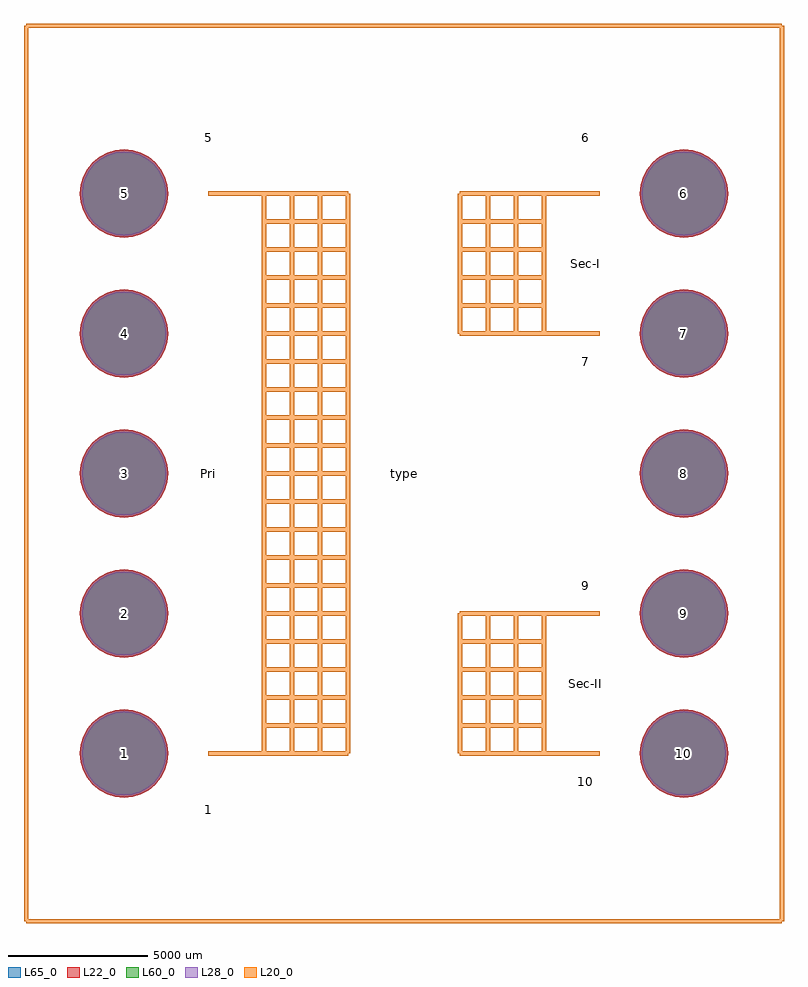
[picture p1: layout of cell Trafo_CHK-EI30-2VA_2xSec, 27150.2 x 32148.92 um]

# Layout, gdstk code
import gdstk
lib = gdstk.Library(unit=1e-6, precision=1e-09)
def P(c, l, *ps):  # polygons
    for p in ps: c.add(gdstk.Polygon(p, *l))
L20_0 = (20, 0)
L22_0 = (22, 0)
L28_0 = (28, 0)
L60_0 = (60, 0)
L65_0 = (65, 0)

trafo_chk_ei30_2va_2xsec = lib.new_cell('Trafo_CHK-EI30-2VA_2xSec')
P(trafo_chk_ei30_2va_2xsec, L22_0, [(11574.85,-9999.98),(11544.589,-9692.738),(11454.97,-9397.303),(11309.437,-9125.029),(11113.581,-8886.379),(10874.931,-8690.523),(10602.657,-8544.99),(10307.222,-8455.371),(9999.98,-8425.11),(9692.738,-8455.371),(9397.303,-8544.99),(9125.029,-8690.523),(8886.379,-8886.379),(8690.523,-9125.029),(8544.99,-9397.303),(8455.371,-9692.738),(8425.11,-9999.98),(8455.371,-10307.222),(8544.99,-10602.657),(8690.523,-10874.931),(8886.379,-11113.581),(9125.029,-11309.437),(9397.303,-11454.97),(9692.738,-11544.589),(9999.98,-11574.85),(10307.222,-11544.589),(10602.657,-11454.97),(10874.931,-11309.437),(11113.581,-11113.581),(11309.437,-10874.931),(11454.97,-10602.657),(11544.589,-10307.222)],
  [(11574.85,-5001.26),(11544.589,-4694.018),(11454.97,-4398.583),(11309.437,-4126.309),(11113.581,-3887.659),(10874.931,-3691.803),(10602.657,-3546.27),(10307.222,-3456.651),(9999.98,-3426.39),(9692.738,-3456.651),(9397.303,-3546.27),(9125.029,-3691.803),(8886.379,-3887.659),(8690.523,-4126.309),(8544.99,-4398.583),(8455.371,-4694.018),(8425.11,-5001.26),(8455.371,-5308.502),(8544.99,-5603.937),(8690.523,-5876.211),(8886.379,-6114.861),(9125.029,-6310.717),(9397.303,-6456.25),(9692.738,-6545.869),(9999.98,-6576.13),(10307.222,-6545.869),(10602.657,-6456.25),(10874.931,-6310.717),(11113.581,-6114.861),(11309.437,-5876.211),(11454.97,-5603.937),(11544.589,-5308.502)],
  [(11574.85,0),(11544.589,307.242),(11454.97,602.677),(11309.437,874.951),(11113.581,1113.601),(10874.931,1309.457),(10602.657,1454.99),(10307.222,1544.609),(9999.98,1574.87),(9692.738,1544.609),(9397.303,1454.99),(9125.029,1309.457),(8886.379,1113.601),(8690.523,874.951),(8544.99,602.677),(8455.371,307.242),(8425.11,0),(8455.371,-307.242),(8544.99,-602.677),(8690.523,-874.951),(8886.379,-1113.601),(9125.029,-1309.457),(9397.303,-1454.99),(9692.738,-1544.609),(9999.98,-1574.87),(10307.222,-1544.609),(10602.657,-1454.99),(10874.931,-1309.457),(11113.581,-1113.601),(11309.437,-874.951),(11454.97,-602.677),(11544.589,-307.242)],
  [(11574.85,5001.26),(11544.589,5308.502),(11454.97,5603.937),(11309.437,5876.211),(11113.581,6114.861),(10874.931,6310.717),(10602.657,6456.25),(10307.222,6545.869),(9999.98,6576.13),(9692.738,6545.869),(9397.303,6456.25),(9125.029,6310.717),(8886.379,6114.861),(8690.523,5876.211),(8544.99,5603.937),(8455.371,5308.502),(8425.11,5001.26),(8455.371,4694.018),(8544.99,4398.583),(8690.523,4126.309),(8886.379,3887.659),(9125.029,3691.803),(9397.303,3546.27),(9692.738,3456.651),(9999.98,3426.39),(10307.222,3456.651),(10602.657,3546.27),(10874.931,3691.803),(11113.581,3887.659),(11309.437,4126.309),(11454.97,4398.583),(11544.589,4694.018)],
  [(11574.85,9999.98),(11544.589,10307.222),(11454.97,10602.657),(11309.437,10874.931),(11113.581,11113.581),(10874.931,11309.437),(10602.657,11454.97),(10307.222,11544.589),(9999.98,11574.85),(9692.738,11544.589),(9397.303,11454.97),(9125.029,11309.437),(8886.379,11113.581),(8690.523,10874.931),(8544.99,10602.657),(8455.371,10307.222),(8425.11,9999.98),(8455.371,9692.738),(8544.99,9397.303),(8690.523,9125.029),(8886.379,8886.379),(9125.029,8690.523),(9397.303,8544.99),(9692.738,8455.371),(9999.98,8425.11),(10307.222,8455.371),(10602.657,8544.99),(10874.931,8690.523),(11113.581,8886.379),(11309.437,9125.029),(11454.97,9397.303),(11544.589,9692.738)],
  [(-8425.11,9999.98),(-8455.371,10307.222),(-8544.99,10602.657),(-8690.523,10874.931),(-8886.379,11113.581),(-9125.029,11309.437),(-9397.303,11454.97),(-9692.738,11544.589),(-9999.98,11574.85),(-10307.222,11544.589),(-10602.657,11454.97),(-10874.931,11309.437),(-11113.581,11113.581),(-11309.437,10874.931),(-11454.97,10602.657),(-11544.589,10307.222),(-11574.85,9999.98),(-11544.589,9692.738),(-11454.97,9397.303),(-11309.437,9125.029),(-11113.581,8886.379),(-10874.931,8690.523),(-10602.657,8544.99),(-10307.222,8455.371),(-9999.98,8425.11),(-9692.738,8455.371),(-9397.303,8544.99),(-9125.029,8690.523),(-8886.379,8886.379),(-8690.523,9125.029),(-8544.99,9397.303),(-8455.371,9692.738)],
  [(-8425.11,5001.26),(-8455.371,5308.502),(-8544.99,5603.937),(-8690.523,5876.211),(-8886.379,6114.861),(-9125.029,6310.717),(-9397.303,6456.25),(-9692.738,6545.869),(-9999.98,6576.13),(-10307.222,6545.869),(-10602.657,6456.25),(-10874.931,6310.717),(-11113.581,6114.861),(-11309.437,5876.211),(-11454.97,5603.937),(-11544.589,5308.502),(-11574.85,5001.26),(-11544.589,4694.018),(-11454.97,4398.583),(-11309.437,4126.309),(-11113.581,3887.659),(-10874.931,3691.803),(-10602.657,3546.27),(-10307.222,3456.651),(-9999.98,3426.39),(-9692.738,3456.651),(-9397.303,3546.27),(-9125.029,3691.803),(-8886.379,3887.659),(-8690.523,4126.309),(-8544.99,4398.583),(-8455.371,4694.018)],
  [(-8425.11,0),(-8455.371,307.242),(-8544.99,602.677),(-8690.523,874.951),(-8886.379,1113.601),(-9125.029,1309.457),(-9397.303,1454.99),(-9692.738,1544.609),(-9999.98,1574.87),(-10307.222,1544.609),(-10602.657,1454.99),(-10874.931,1309.457),(-11113.581,1113.601),(-11309.437,874.951),(-11454.97,602.677),(-11544.589,307.242),(-11574.85,0),(-11544.589,-307.242),(-11454.97,-602.677),(-11309.437,-874.951),(-11113.581,-1113.601),(-10874.931,-1309.457),(-10602.657,-1454.99),(-10307.222,-1544.609),(-9999.98,-1574.87),(-9692.738,-1544.609),(-9397.303,-1454.99),(-9125.029,-1309.457),(-8886.379,-1113.601),(-8690.523,-874.951),(-8544.99,-602.677),(-8455.371,-307.242)],
  [(-8425.11,-5001.26),(-8455.371,-4694.018),(-8544.99,-4398.583),(-8690.523,-4126.309),(-8886.379,-3887.659),(-9125.029,-3691.803),(-9397.303,-3546.27),(-9692.738,-3456.651),(-9999.98,-3426.39),(-10307.222,-3456.651),(-10602.657,-3546.27),(-10874.931,-3691.803),(-11113.581,-3887.659),(-11309.437,-4126.309),(-11454.97,-4398.583),(-11544.589,-4694.018),(-11574.85,-5001.26),(-11544.589,-5308.502),(-11454.97,-5603.937),(-11309.437,-5876.211),(-11113.581,-6114.861),(-10874.931,-6310.717),(-10602.657,-6456.25),(-10307.222,-6545.869),(-9999.98,-6576.13),(-9692.738,-6545.869),(-9397.303,-6456.25),(-9125.029,-6310.717),(-8886.379,-6114.861),(-8690.523,-5876.211),(-8544.99,-5603.937),(-8455.371,-5308.502)],
  [(-8425.11,-9999.98),(-8455.371,-9692.738),(-8544.99,-9397.303),(-8690.523,-9125.029),(-8886.379,-8886.379),(-9125.029,-8690.523),(-9397.303,-8544.99),(-9692.738,-8455.371),(-9999.98,-8425.11),(-10307.222,-8455.371),(-10602.657,-8544.99),(-10874.931,-8690.523),(-11113.581,-8886.379),(-11309.437,-9125.029),(-11454.97,-9397.303),(-11544.589,-9692.738),(-11574.85,-9999.98),(-11544.589,-10307.222),(-11454.97,-10602.657),(-11309.437,-10874.931),(-11113.581,-11113.581),(-10874.931,-11309.437),(-10602.657,-11454.97),(-10307.222,-11544.589),(-9999.98,-11574.85),(-9692.738,-11544.589),(-9397.303,-11454.97),(-9125.029,-11309.437),(-8886.379,-11113.581),(-8690.523,-10874.931),(-8544.99,-10602.657),(-8455.371,-10307.222)])
P(trafo_chk_ei30_2va_2xsec, L28_0, [(11499.85,-9999.98),(11471.03,-9707.37),(11385.679,-9426.005),(11247.076,-9166.697),(11060.548,-8939.412),(10833.263,-8752.884),(10573.955,-8614.281),(10292.59,-8528.93),(9999.98,-8500.11),(9707.37,-8528.93),(9426.005,-8614.281),(9166.697,-8752.884),(8939.412,-8939.412),(8752.884,-9166.697),(8614.281,-9426.005),(8528.93,-9707.37),(8500.11,-9999.98),(8528.93,-10292.59),(8614.281,-10573.955),(8752.884,-10833.263),(8939.412,-11060.548),(9166.697,-11247.076),(9426.005,-11385.679),(9707.37,-11471.03),(9999.98,-11499.85),(10292.59,-11471.03),(10573.955,-11385.679),(10833.263,-11247.076),(11060.548,-11060.548),(11247.076,-10833.263),(11385.679,-10573.955),(11471.03,-10292.59)],
  [(11499.85,-5001.26),(11471.03,-4708.65),(11385.679,-4427.285),(11247.076,-4167.977),(11060.548,-3940.692),(10833.263,-3754.164),(10573.955,-3615.561),(10292.59,-3530.21),(9999.98,-3501.39),(9707.37,-3530.21),(9426.005,-3615.561),(9166.697,-3754.164),(8939.412,-3940.692),(8752.884,-4167.977),(8614.281,-4427.285),(8528.93,-4708.65),(8500.11,-5001.26),(8528.93,-5293.87),(8614.281,-5575.235),(8752.884,-5834.543),(8939.412,-6061.828),(9166.697,-6248.356),(9426.005,-6386.959),(9707.37,-6472.31),(9999.98,-6501.13),(10292.59,-6472.31),(10573.955,-6386.959),(10833.263,-6248.356),(11060.548,-6061.828),(11247.076,-5834.543),(11385.679,-5575.235),(11471.03,-5293.87)],
  [(11499.85,0),(11471.03,292.61),(11385.679,573.975),(11247.076,833.283),(11060.548,1060.568),(10833.263,1247.096),(10573.955,1385.699),(10292.59,1471.05),(9999.98,1499.87),(9707.37,1471.05),(9426.005,1385.699),(9166.697,1247.096),(8939.412,1060.568),(8752.884,833.283),(8614.281,573.975),(8528.93,292.61),(8500.11,0),(8528.93,-292.61),(8614.281,-573.975),(8752.884,-833.283),(8939.412,-1060.568),(9166.697,-1247.096),(9426.005,-1385.699),(9707.37,-1471.05),(9999.98,-1499.87),(10292.59,-1471.05),(10573.955,-1385.699),(10833.263,-1247.096),(11060.548,-1060.568),(11247.076,-833.283),(11385.679,-573.975),(11471.03,-292.61)],
  [(11499.85,5001.26),(11471.03,5293.87),(11385.679,5575.235),(11247.076,5834.543),(11060.548,6061.828),(10833.263,6248.356),(10573.955,6386.959),(10292.59,6472.31),(9999.98,6501.13),(9707.37,6472.31),(9426.005,6386.959),(9166.697,6248.356),(8939.412,6061.828),(8752.884,5834.543),(8614.281,5575.235),(8528.93,5293.87),(8500.11,5001.26),(8528.93,4708.65),(8614.281,4427.285),(8752.884,4167.977),(8939.412,3940.692),(9166.697,3754.164),(9426.005,3615.561),(9707.37,3530.21),(9999.98,3501.39),(10292.59,3530.21),(10573.955,3615.561),(10833.263,3754.164),(11060.548,3940.692),(11247.076,4167.977),(11385.679,4427.285),(11471.03,4708.65)],
  [(11499.85,9999.98),(11471.03,10292.59),(11385.679,10573.955),(11247.076,10833.263),(11060.548,11060.548),(10833.263,11247.076),(10573.955,11385.679),(10292.59,11471.03),(9999.98,11499.85),(9707.37,11471.03),(9426.005,11385.679),(9166.697,11247.076),(8939.412,11060.548),(8752.884,10833.263),(8614.281,10573.955),(8528.93,10292.59),(8500.11,9999.98),(8528.93,9707.37),(8614.281,9426.005),(8752.884,9166.697),(8939.412,8939.412),(9166.697,8752.884),(9426.005,8614.281),(9707.37,8528.93),(9999.98,8500.11),(10292.59,8528.93),(10573.955,8614.281),(10833.263,8752.884),(11060.548,8939.412),(11247.076,9166.697),(11385.679,9426.005),(11471.03,9707.37)],
  [(-8500.11,9999.98),(-8528.93,10292.59),(-8614.281,10573.955),(-8752.884,10833.263),(-8939.412,11060.548),(-9166.697,11247.076),(-9426.005,11385.679),(-9707.37,11471.03),(-9999.98,11499.85),(-10292.59,11471.03),(-10573.955,11385.679),(-10833.263,11247.076),(-11060.548,11060.548),(-11247.076,10833.263),(-11385.679,10573.955),(-11471.03,10292.59),(-11499.85,9999.98),(-11471.03,9707.37),(-11385.679,9426.005),(-11247.076,9166.697),(-11060.548,8939.412),(-10833.263,8752.884),(-10573.955,8614.281),(-10292.59,8528.93),(-9999.98,8500.11),(-9707.37,8528.93),(-9426.005,8614.281),(-9166.697,8752.884),(-8939.412,8939.412),(-8752.884,9166.697),(-8614.281,9426.005),(-8528.93,9707.37)],
  [(-8500.11,5001.26),(-8528.93,5293.87),(-8614.281,5575.235),(-8752.884,5834.543),(-8939.412,6061.828),(-9166.697,6248.356),(-9426.005,6386.959),(-9707.37,6472.31),(-9999.98,6501.13),(-10292.59,6472.31),(-10573.955,6386.959),(-10833.263,6248.356),(-11060.548,6061.828),(-11247.076,5834.543),(-11385.679,5575.235),(-11471.03,5293.87),(-11499.85,5001.26),(-11471.03,4708.65),(-11385.679,4427.285),(-11247.076,4167.977),(-11060.548,3940.692),(-10833.263,3754.164),(-10573.955,3615.561),(-10292.59,3530.21),(-9999.98,3501.39),(-9707.37,3530.21),(-9426.005,3615.561),(-9166.697,3754.164),(-8939.412,3940.692),(-8752.884,4167.977),(-8614.281,4427.285),(-8528.93,4708.65)],
  [(-8500.11,0),(-8528.93,292.61),(-8614.281,573.975),(-8752.884,833.283),(-8939.412,1060.568),(-9166.697,1247.096),(-9426.005,1385.699),(-9707.37,1471.05),(-9999.98,1499.87),(-10292.59,1471.05),(-10573.955,1385.699),(-10833.263,1247.096),(-11060.548,1060.568),(-11247.076,833.283),(-11385.679,573.975),(-11471.03,292.61),(-11499.85,0),(-11471.03,-292.61),(-11385.679,-573.975),(-11247.076,-833.283),(-11060.548,-1060.568),(-10833.263,-1247.096),(-10573.955,-1385.699),(-10292.59,-1471.05),(-9999.98,-1499.87),(-9707.37,-1471.05),(-9426.005,-1385.699),(-9166.697,-1247.096),(-8939.412,-1060.568),(-8752.884,-833.283),(-8614.281,-573.975),(-8528.93,-292.61)],
  [(-8500.11,-5001.26),(-8528.93,-4708.65),(-8614.281,-4427.285),(-8752.884,-4167.977),(-8939.412,-3940.692),(-9166.697,-3754.164),(-9426.005,-3615.561),(-9707.37,-3530.21),(-9999.98,-3501.39),(-10292.59,-3530.21),(-10573.955,-3615.561),(-10833.263,-3754.164),(-11060.548,-3940.692),(-11247.076,-4167.977),(-11385.679,-4427.285),(-11471.03,-4708.65),(-11499.85,-5001.26),(-11471.03,-5293.87),(-11385.679,-5575.235),(-11247.076,-5834.543),(-11060.548,-6061.828),(-10833.263,-6248.356),(-10573.955,-6386.959),(-10292.59,-6472.31),(-9999.98,-6501.13),(-9707.37,-6472.31),(-9426.005,-6386.959),(-9166.697,-6248.356),(-8939.412,-6061.828),(-8752.884,-5834.543),(-8614.281,-5575.235),(-8528.93,-5293.87)],
  [(-8500.11,-9999.98),(-8528.93,-9707.37),(-8614.281,-9426.005),(-8752.884,-9166.697),(-8939.412,-8939.412),(-9166.697,-8752.884),(-9426.005,-8614.281),(-9707.37,-8528.93),(-9999.98,-8500.11),(-10292.59,-8528.93),(-10573.955,-8614.281),(-10833.263,-8752.884),(-11060.548,-8939.412),(-11247.076,-9166.697),(-11385.679,-9426.005),(-11471.03,-9707.37),(-11499.85,-9999.98),(-11471.03,-10292.59),(-11385.679,-10573.955),(-11247.076,-10833.263),(-11060.548,-11060.548),(-10833.263,-11247.076),(-10573.955,-11385.679),(-10292.59,-11471.03),(-9999.98,-11499.85),(-9707.37,-11471.03),(-9426.005,-11385.679),(-9166.697,-11247.076),(-8939.412,-11060.548),(-8752.884,-10833.263),(-8614.281,-10573.955),(-8528.93,-10292.59)])
P(trafo_chk_ei30_2va_2xsec, L60_0, [(11499.85,-9999.98),(11471.03,-9707.37),(11385.679,-9426.005),(11247.076,-9166.697),(11060.548,-8939.412),(10833.263,-8752.884),(10573.955,-8614.281),(10292.59,-8528.93),(9999.98,-8500.11),(9707.37,-8528.93),(9426.005,-8614.281),(9166.697,-8752.884),(8939.412,-8939.412),(8752.884,-9166.697),(8614.281,-9426.005),(8528.93,-9707.37),(8500.11,-9999.98),(8528.93,-10292.59),(8614.281,-10573.955),(8752.884,-10833.263),(8939.412,-11060.548),(9166.697,-11247.076),(9426.005,-11385.679),(9707.37,-11471.03),(9999.98,-11499.85),(10292.59,-11471.03),(10573.955,-11385.679),(10833.263,-11247.076),(11060.548,-11060.548),(11247.076,-10833.263),(11385.679,-10573.955),(11471.03,-10292.59)],
  [(11499.85,-5001.26),(11471.03,-4708.65),(11385.679,-4427.285),(11247.076,-4167.977),(11060.548,-3940.692),(10833.263,-3754.164),(10573.955,-3615.561),(10292.59,-3530.21),(9999.98,-3501.39),(9707.37,-3530.21),(9426.005,-3615.561),(9166.697,-3754.164),(8939.412,-3940.692),(8752.884,-4167.977),(8614.281,-4427.285),(8528.93,-4708.65),(8500.11,-5001.26),(8528.93,-5293.87),(8614.281,-5575.235),(8752.884,-5834.543),(8939.412,-6061.828),(9166.697,-6248.356),(9426.005,-6386.959),(9707.37,-6472.31),(9999.98,-6501.13),(10292.59,-6472.31),(10573.955,-6386.959),(10833.263,-6248.356),(11060.548,-6061.828),(11247.076,-5834.543),(11385.679,-5575.235),(11471.03,-5293.87)],
  [(11499.85,0),(11471.03,292.61),(11385.679,573.975),(11247.076,833.283),(11060.548,1060.568),(10833.263,1247.096),(10573.955,1385.699),(10292.59,1471.05),(9999.98,1499.87),(9707.37,1471.05),(9426.005,1385.699),(9166.697,1247.096),(8939.412,1060.568),(8752.884,833.283),(8614.281,573.975),(8528.93,292.61),(8500.11,0),(8528.93,-292.61),(8614.281,-573.975),(8752.884,-833.283),(8939.412,-1060.568),(9166.697,-1247.096),(9426.005,-1385.699),(9707.37,-1471.05),(9999.98,-1499.87),(10292.59,-1471.05),(10573.955,-1385.699),(10833.263,-1247.096),(11060.548,-1060.568),(11247.076,-833.283),(11385.679,-573.975),(11471.03,-292.61)],
  [(11499.85,5001.26),(11471.03,5293.87),(11385.679,5575.235),(11247.076,5834.543),(11060.548,6061.828),(10833.263,6248.356),(10573.955,6386.959),(10292.59,6472.31),(9999.98,6501.13),(9707.37,6472.31),(9426.005,6386.959),(9166.697,6248.356),(8939.412,6061.828),(8752.884,5834.543),(8614.281,5575.235),(8528.93,5293.87),(8500.11,5001.26),(8528.93,4708.65),(8614.281,4427.285),(8752.884,4167.977),(8939.412,3940.692),(9166.697,3754.164),(9426.005,3615.561),(9707.37,3530.21),(9999.98,3501.39),(10292.59,3530.21),(10573.955,3615.561),(10833.263,3754.164),(11060.548,3940.692),(11247.076,4167.977),(11385.679,4427.285),(11471.03,4708.65)],
  [(11499.85,9999.98),(11471.03,10292.59),(11385.679,10573.955),(11247.076,10833.263),(11060.548,11060.548),(10833.263,11247.076),(10573.955,11385.679),(10292.59,11471.03),(9999.98,11499.85),(9707.37,11471.03),(9426.005,11385.679),(9166.697,11247.076),(8939.412,11060.548),(8752.884,10833.263),(8614.281,10573.955),(8528.93,10292.59),(8500.11,9999.98),(8528.93,9707.37),(8614.281,9426.005),(8752.884,9166.697),(8939.412,8939.412),(9166.697,8752.884),(9426.005,8614.281),(9707.37,8528.93),(9999.98,8500.11),(10292.59,8528.93),(10573.955,8614.281),(10833.263,8752.884),(11060.548,8939.412),(11247.076,9166.697),(11385.679,9426.005),(11471.03,9707.37)],
  [(-8500.11,9999.98),(-8528.93,10292.59),(-8614.281,10573.955),(-8752.884,10833.263),(-8939.412,11060.548),(-9166.697,11247.076),(-9426.005,11385.679),(-9707.37,11471.03),(-9999.98,11499.85),(-10292.59,11471.03),(-10573.955,11385.679),(-10833.263,11247.076),(-11060.548,11060.548),(-11247.076,10833.263),(-11385.679,10573.955),(-11471.03,10292.59),(-11499.85,9999.98),(-11471.03,9707.37),(-11385.679,9426.005),(-11247.076,9166.697),(-11060.548,8939.412),(-10833.263,8752.884),(-10573.955,8614.281),(-10292.59,8528.93),(-9999.98,8500.11),(-9707.37,8528.93),(-9426.005,8614.281),(-9166.697,8752.884),(-8939.412,8939.412),(-8752.884,9166.697),(-8614.281,9426.005),(-8528.93,9707.37)],
  [(-8500.11,5001.26),(-8528.93,5293.87),(-8614.281,5575.235),(-8752.884,5834.543),(-8939.412,6061.828),(-9166.697,6248.356),(-9426.005,6386.959),(-9707.37,6472.31),(-9999.98,6501.13),(-10292.59,6472.31),(-10573.955,6386.959),(-10833.263,6248.356),(-11060.548,6061.828),(-11247.076,5834.543),(-11385.679,5575.235),(-11471.03,5293.87),(-11499.85,5001.26),(-11471.03,4708.65),(-11385.679,4427.285),(-11247.076,4167.977),(-11060.548,3940.692),(-10833.263,3754.164),(-10573.955,3615.561),(-10292.59,3530.21),(-9999.98,3501.39),(-9707.37,3530.21),(-9426.005,3615.561),(-9166.697,3754.164),(-8939.412,3940.692),(-8752.884,4167.977),(-8614.281,4427.285),(-8528.93,4708.65)],
  [(-8500.11,0),(-8528.93,292.61),(-8614.281,573.975),(-8752.884,833.283),(-8939.412,1060.568),(-9166.697,1247.096),(-9426.005,1385.699),(-9707.37,1471.05),(-9999.98,1499.87),(-10292.59,1471.05),(-10573.955,1385.699),(-10833.263,1247.096),(-11060.548,1060.568),(-11247.076,833.283),(-11385.679,573.975),(-11471.03,292.61),(-11499.85,0),(-11471.03,-292.61),(-11385.679,-573.975),(-11247.076,-833.283),(-11060.548,-1060.568),(-10833.263,-1247.096),(-10573.955,-1385.699),(-10292.59,-1471.05),(-9999.98,-1499.87),(-9707.37,-1471.05),(-9426.005,-1385.699),(-9166.697,-1247.096),(-8939.412,-1060.568),(-8752.884,-833.283),(-8614.281,-573.975),(-8528.93,-292.61)],
  [(-8500.11,-5001.26),(-8528.93,-4708.65),(-8614.281,-4427.285),(-8752.884,-4167.977),(-8939.412,-3940.692),(-9166.697,-3754.164),(-9426.005,-3615.561),(-9707.37,-3530.21),(-9999.98,-3501.39),(-10292.59,-3530.21),(-10573.955,-3615.561),(-10833.263,-3754.164),(-11060.548,-3940.692),(-11247.076,-4167.977),(-11385.679,-4427.285),(-11471.03,-4708.65),(-11499.85,-5001.26),(-11471.03,-5293.87),(-11385.679,-5575.235),(-11247.076,-5834.543),(-11060.548,-6061.828),(-10833.263,-6248.356),(-10573.955,-6386.959),(-10292.59,-6472.31),(-9999.98,-6501.13),(-9707.37,-6472.31),(-9426.005,-6386.959),(-9166.697,-6248.356),(-8939.412,-6061.828),(-8752.884,-5834.543),(-8614.281,-5575.235),(-8528.93,-5293.87)],
  [(-8500.11,-9999.98),(-8528.93,-9707.37),(-8614.281,-9426.005),(-8752.884,-9166.697),(-8939.412,-8939.412),(-9166.697,-8752.884),(-9426.005,-8614.281),(-9707.37,-8528.93),(-9999.98,-8500.11),(-10292.59,-8528.93),(-10573.955,-8614.281),(-10833.263,-8752.884),(-11060.548,-8939.412),(-11247.076,-9166.697),(-11385.679,-9426.005),(-11471.03,-9707.37),(-11499.85,-9999.98),(-11471.03,-10292.59),(-11385.679,-10573.955),(-11247.076,-10833.263),(-11060.548,-11060.548),(-10833.263,-11247.076),(-10573.955,-11385.679),(-10292.59,-11471.03),(-9999.98,-11499.85),(-9707.37,-11471.03),(-9426.005,-11385.679),(-9166.697,-11247.076),(-8939.412,-11060.548),(-8752.884,-10833.263),(-8614.281,-10573.955),(-8528.93,-10292.59)])
P(trafo_chk_ei30_2va_2xsec, L65_0, [(11574.85,-9999.98),(11544.589,-9692.738),(11454.97,-9397.303),(11309.437,-9125.029),(11113.581,-8886.379),(10874.931,-8690.523),(10602.657,-8544.99),(10307.222,-8455.371),(9999.98,-8425.11),(9692.738,-8455.371),(9397.303,-8544.99),(9125.029,-8690.523),(8886.379,-8886.379),(8690.523,-9125.029),(8544.99,-9397.303),(8455.371,-9692.738),(8425.11,-9999.98),(8455.371,-10307.222),(8544.99,-10602.657),(8690.523,-10874.931),(8886.379,-11113.581),(9125.029,-11309.437),(9397.303,-11454.97),(9692.738,-11544.589),(9999.98,-11574.85),(10307.222,-11544.589),(10602.657,-11454.97),(10874.931,-11309.437),(11113.581,-11113.581),(11309.437,-10874.931),(11454.97,-10602.657),(11544.589,-10307.222)],
  [(11574.85,-5001.26),(11544.589,-4694.018),(11454.97,-4398.583),(11309.437,-4126.309),(11113.581,-3887.659),(10874.931,-3691.803),(10602.657,-3546.27),(10307.222,-3456.651),(9999.98,-3426.39),(9692.738,-3456.651),(9397.303,-3546.27),(9125.029,-3691.803),(8886.379,-3887.659),(8690.523,-4126.309),(8544.99,-4398.583),(8455.371,-4694.018),(8425.11,-5001.26),(8455.371,-5308.502),(8544.99,-5603.937),(8690.523,-5876.211),(8886.379,-6114.861),(9125.029,-6310.717),(9397.303,-6456.25),(9692.738,-6545.869),(9999.98,-6576.13),(10307.222,-6545.869),(10602.657,-6456.25),(10874.931,-6310.717),(11113.581,-6114.861),(11309.437,-5876.211),(11454.97,-5603.937),(11544.589,-5308.502)],
  [(11574.85,0),(11544.589,307.242),(11454.97,602.677),(11309.437,874.951),(11113.581,1113.601),(10874.931,1309.457),(10602.657,1454.99),(10307.222,1544.609),(9999.98,1574.87),(9692.738,1544.609),(9397.303,1454.99),(9125.029,1309.457),(8886.379,1113.601),(8690.523,874.951),(8544.99,602.677),(8455.371,307.242),(8425.11,0),(8455.371,-307.242),(8544.99,-602.677),(8690.523,-874.951),(8886.379,-1113.601),(9125.029,-1309.457),(9397.303,-1454.99),(9692.738,-1544.609),(9999.98,-1574.87),(10307.222,-1544.609),(10602.657,-1454.99),(10874.931,-1309.457),(11113.581,-1113.601),(11309.437,-874.951),(11454.97,-602.677),(11544.589,-307.242)],
  [(11574.85,5001.26),(11544.589,5308.502),(11454.97,5603.937),(11309.437,5876.211),(11113.581,6114.861),(10874.931,6310.717),(10602.657,6456.25),(10307.222,6545.869),(9999.98,6576.13),(9692.738,6545.869),(9397.303,6456.25),(9125.029,6310.717),(8886.379,6114.861),(8690.523,5876.211),(8544.99,5603.937),(8455.371,5308.502),(8425.11,5001.26),(8455.371,4694.018),(8544.99,4398.583),(8690.523,4126.309),(8886.379,3887.659),(9125.029,3691.803),(9397.303,3546.27),(9692.738,3456.651),(9999.98,3426.39),(10307.222,3456.651),(10602.657,3546.27),(10874.931,3691.803),(11113.581,3887.659),(11309.437,4126.309),(11454.97,4398.583),(11544.589,4694.018)],
  [(11574.85,9999.98),(11544.589,10307.222),(11454.97,10602.657),(11309.437,10874.931),(11113.581,11113.581),(10874.931,11309.437),(10602.657,11454.97),(10307.222,11544.589),(9999.98,11574.85),(9692.738,11544.589),(9397.303,11454.97),(9125.029,11309.437),(8886.379,11113.581),(8690.523,10874.931),(8544.99,10602.657),(8455.371,10307.222),(8425.11,9999.98),(8455.371,9692.738),(8544.99,9397.303),(8690.523,9125.029),(8886.379,8886.379),(9125.029,8690.523),(9397.303,8544.99),(9692.738,8455.371),(9999.98,8425.11),(10307.222,8455.371),(10602.657,8544.99),(10874.931,8690.523),(11113.581,8886.379),(11309.437,9125.029),(11454.97,9397.303),(11544.589,9692.738)],
  [(-8425.11,9999.98),(-8455.371,10307.222),(-8544.99,10602.657),(-8690.523,10874.931),(-8886.379,11113.581),(-9125.029,11309.437),(-9397.303,11454.97),(-9692.738,11544.589),(-9999.98,11574.85),(-10307.222,11544.589),(-10602.657,11454.97),(-10874.931,11309.437),(-11113.581,11113.581),(-11309.437,10874.931),(-11454.97,10602.657),(-11544.589,10307.222),(-11574.85,9999.98),(-11544.589,9692.738),(-11454.97,9397.303),(-11309.437,9125.029),(-11113.581,8886.379),(-10874.931,8690.523),(-10602.657,8544.99),(-10307.222,8455.371),(-9999.98,8425.11),(-9692.738,8455.371),(-9397.303,8544.99),(-9125.029,8690.523),(-8886.379,8886.379),(-8690.523,9125.029),(-8544.99,9397.303),(-8455.371,9692.738)],
  [(-8425.11,5001.26),(-8455.371,5308.502),(-8544.99,5603.937),(-8690.523,5876.211),(-8886.379,6114.861),(-9125.029,6310.717),(-9397.303,6456.25),(-9692.738,6545.869),(-9999.98,6576.13),(-10307.222,6545.869),(-10602.657,6456.25),(-10874.931,6310.717),(-11113.581,6114.861),(-11309.437,5876.211),(-11454.97,5603.937),(-11544.589,5308.502),(-11574.85,5001.26),(-11544.589,4694.018),(-11454.97,4398.583),(-11309.437,4126.309),(-11113.581,3887.659),(-10874.931,3691.803),(-10602.657,3546.27),(-10307.222,3456.651),(-9999.98,3426.39),(-9692.738,3456.651),(-9397.303,3546.27),(-9125.029,3691.803),(-8886.379,3887.659),(-8690.523,4126.309),(-8544.99,4398.583),(-8455.371,4694.018)],
  [(-8425.11,0),(-8455.371,307.242),(-8544.99,602.677),(-8690.523,874.951),(-8886.379,1113.601),(-9125.029,1309.457),(-9397.303,1454.99),(-9692.738,1544.609),(-9999.98,1574.87),(-10307.222,1544.609),(-10602.657,1454.99),(-10874.931,1309.457),(-11113.581,1113.601),(-11309.437,874.951),(-11454.97,602.677),(-11544.589,307.242),(-11574.85,0),(-11544.589,-307.242),(-11454.97,-602.677),(-11309.437,-874.951),(-11113.581,-1113.601),(-10874.931,-1309.457),(-10602.657,-1454.99),(-10307.222,-1544.609),(-9999.98,-1574.87),(-9692.738,-1544.609),(-9397.303,-1454.99),(-9125.029,-1309.457),(-8886.379,-1113.601),(-8690.523,-874.951),(-8544.99,-602.677),(-8455.371,-307.242)],
  [(-8425.11,-5001.26),(-8455.371,-4694.018),(-8544.99,-4398.583),(-8690.523,-4126.309),(-8886.379,-3887.659),(-9125.029,-3691.803),(-9397.303,-3546.27),(-9692.738,-3456.651),(-9999.98,-3426.39),(-10307.222,-3456.651),(-10602.657,-3546.27),(-10874.931,-3691.803),(-11113.581,-3887.659),(-11309.437,-4126.309),(-11454.97,-4398.583),(-11544.589,-4694.018),(-11574.85,-5001.26),(-11544.589,-5308.502),(-11454.97,-5603.937),(-11309.437,-5876.211),(-11113.581,-6114.861),(-10874.931,-6310.717),(-10602.657,-6456.25),(-10307.222,-6545.869),(-9999.98,-6576.13),(-9692.738,-6545.869),(-9397.303,-6456.25),(-9125.029,-6310.717),(-8886.379,-6114.861),(-8690.523,-5876.211),(-8544.99,-5603.937),(-8455.371,-5308.502)],
  [(-8425.11,-9999.98),(-8455.371,-9692.738),(-8544.99,-9397.303),(-8690.523,-9125.029),(-8886.379,-8886.379),(-9125.029,-8690.523),(-9397.303,-8544.99),(-9692.738,-8455.371),(-9999.98,-8425.11),(-10307.222,-8455.371),(-10602.657,-8544.99),(-10874.931,-8690.523),(-11113.581,-8886.379),(-11309.437,-9125.029),(-11454.97,-9397.303),(-11544.589,-9692.738),(-11574.85,-9999.98),(-11544.589,-10307.222),(-11454.97,-10602.657),(-11309.437,-10874.931),(-11113.581,-11113.581),(-10874.931,-11309.437),(-10602.657,-11454.97),(-10307.222,-11544.589),(-9999.98,-11574.85),(-9692.738,-11544.589),(-9397.303,-11454.97),(-9125.029,-11309.437),(-8886.379,-11113.581),(-8690.523,-10874.931),(-8544.99,-10602.657),(-8455.371,-10307.222)])
trafo_chk_ei30_2va_2xsec.add(gdstk.FlexPath([(-13500.1,15999.46),(-13500.1,-15999.46)], 149.998, ends="flush", simple_path=True, layer=20, datatype=0))  # L20_0
trafo_chk_ei30_2va_2xsec.add(gdstk.FlexPath([(13500.1,15999.46),(-13500.1,15999.46)], 149.998, ends="flush", simple_path=True, layer=20, datatype=0))  # L20_0
trafo_chk_ei30_2va_2xsec.add(gdstk.FlexPath([(13500.1,-15999.46),(13500.1,15999.46)], 149.998, ends="flush", simple_path=True, layer=20, datatype=0))  # L20_0
trafo_chk_ei30_2va_2xsec.add(gdstk.FlexPath([(-13500.1,-15999.46),(13500.1,-15999.46)], 149.998, ends="flush", simple_path=True, layer=20, datatype=0))  # L20_0
trafo_chk_ei30_2va_2xsec.add(gdstk.FlexPath([(-5001.26,-9999.98),(-7000.24,-9999.98)], 149.998, ends="flush", simple_path=True, layer=20, datatype=0))  # L20_0
trafo_chk_ei30_2va_2xsec.add(gdstk.FlexPath([(-5001.26,9999.98),(-5001.26,-9999.98)], 149.998, ends="flush", simple_path=True, layer=20, datatype=0))  # L20_0
trafo_chk_ei30_2va_2xsec.add(gdstk.FlexPath([(-7000.24,9999.98),(-5001.26,9999.98)], 149.998, ends="flush", simple_path=True, layer=20, datatype=0))  # L20_0
trafo_chk_ei30_2va_2xsec.add(gdstk.FlexPath([(-4000.5,-9999.98),(-5001.26,-9999.98)], 149.998, ends="flush", simple_path=True, layer=20, datatype=0))  # L20_0
trafo_chk_ei30_2va_2xsec.add(gdstk.FlexPath([(-4000.5,9999.98),(-4000.5,-9999.98)], 149.998, ends="flush", simple_path=True, layer=20, datatype=0))  # L20_0
trafo_chk_ei30_2va_2xsec.add(gdstk.FlexPath([(-5001.26,9999.98),(-4000.5,9999.98)], 149.998, ends="flush", simple_path=True, layer=20, datatype=0))  # L20_0
trafo_chk_ei30_2va_2xsec.add(gdstk.FlexPath([(-2999.74,-9999.98),(-4000.5,-9999.98)], 149.998, ends="flush", simple_path=True, layer=20, datatype=0))  # L20_0
trafo_chk_ei30_2va_2xsec.add(gdstk.FlexPath([(-2999.74,9999.98),(-2999.74,-9999.98)], 149.998, ends="flush", simple_path=True, layer=20, datatype=0))  # L20_0
trafo_chk_ei30_2va_2xsec.add(gdstk.FlexPath([(-4000.5,9999.98),(-2999.74,9999.98)], 149.998, ends="flush", simple_path=True, layer=20, datatype=0))  # L20_0
trafo_chk_ei30_2va_2xsec.add(gdstk.FlexPath([(-1998.98,-9999.98),(-2999.74,-9999.98)], 149.998, ends="flush", simple_path=True, layer=20, datatype=0))  # L20_0
trafo_chk_ei30_2va_2xsec.add(gdstk.FlexPath([(-1998.98,9999.98),(-1998.98,-9999.98)], 149.998, ends="flush", simple_path=True, layer=20, datatype=0))  # L20_0
trafo_chk_ei30_2va_2xsec.add(gdstk.FlexPath([(-2999.74,9999.98),(-1998.98,9999.98)], 149.998, ends="flush", simple_path=True, layer=20, datatype=0))  # L20_0
trafo_chk_ei30_2va_2xsec.add(gdstk.FlexPath([(-5001.26,8999.22),(-1998.98,8999.22)], 149.998, ends="flush", simple_path=True, layer=20, datatype=0))  # L20_0
trafo_chk_ei30_2va_2xsec.add(gdstk.FlexPath([(-1998.98,8001),(-5001.26,8001)], 149.998, ends="flush", simple_path=True, layer=20, datatype=0))  # L20_0
trafo_chk_ei30_2va_2xsec.add(gdstk.FlexPath([(-5001.26,7000.24),(-1998.98,7000.24)], 149.998, ends="flush", simple_path=True, layer=20, datatype=0))  # L20_0
trafo_chk_ei30_2va_2xsec.add(gdstk.FlexPath([(-1998.98,5999.48),(-5001.26,5999.48)], 149.998, ends="flush", simple_path=True, layer=20, datatype=0))  # L20_0
trafo_chk_ei30_2va_2xsec.add(gdstk.FlexPath([(-5001.26,5001.26),(-1998.98,5001.26)], 149.998, ends="flush", simple_path=True, layer=20, datatype=0))  # L20_0
trafo_chk_ei30_2va_2xsec.add(gdstk.FlexPath([(-1998.98,4000.5),(-5001.26,4000.5)], 149.998, ends="flush", simple_path=True, layer=20, datatype=0))  # L20_0
trafo_chk_ei30_2va_2xsec.add(gdstk.FlexPath([(-5001.26,2999.74),(-1998.98,2999.74)], 149.998, ends="flush", simple_path=True, layer=20, datatype=0))  # L20_0
trafo_chk_ei30_2va_2xsec.add(gdstk.FlexPath([(-1998.98,1998.98),(-5001.26,1998.98)], 149.998, ends="flush", simple_path=True, layer=20, datatype=0))  # L20_0
trafo_chk_ei30_2va_2xsec.add(gdstk.FlexPath([(-5001.26,1000.76),(-1998.98,1000.76)], 149.998, ends="flush", simple_path=True, layer=20, datatype=0))  # L20_0
trafo_chk_ei30_2va_2xsec.add(gdstk.FlexPath([(-1998.98,0),(-5001.26,0)], 149.998, ends="flush", simple_path=True, layer=20, datatype=0))  # L20_0
trafo_chk_ei30_2va_2xsec.add(gdstk.FlexPath([(-5001.26,-1000.76),(-1998.98,-1000.76)], 149.998, ends="flush", simple_path=True, layer=20, datatype=0))  # L20_0
trafo_chk_ei30_2va_2xsec.add(gdstk.FlexPath([(-1998.98,-1998.98),(-5001.26,-1998.98)], 149.998, ends="flush", simple_path=True, layer=20, datatype=0))  # L20_0
trafo_chk_ei30_2va_2xsec.add(gdstk.FlexPath([(-5001.26,-2999.74),(-1998.98,-2999.74)], 149.998, ends="flush", simple_path=True, layer=20, datatype=0))  # L20_0
trafo_chk_ei30_2va_2xsec.add(gdstk.FlexPath([(-1998.98,-4000.5),(-5001.26,-4000.5)], 149.998, ends="flush", simple_path=True, layer=20, datatype=0))  # L20_0
trafo_chk_ei30_2va_2xsec.add(gdstk.FlexPath([(-5001.26,-5001.26),(-1998.98,-5001.26)], 149.998, ends="flush", simple_path=True, layer=20, datatype=0))  # L20_0
trafo_chk_ei30_2va_2xsec.add(gdstk.FlexPath([(-1998.98,-5999.48),(-5001.26,-5999.48)], 149.998, ends="flush", simple_path=True, layer=20, datatype=0))  # L20_0
trafo_chk_ei30_2va_2xsec.add(gdstk.FlexPath([(-5001.26,-7000.24),(-1998.98,-7000.24)], 149.998, ends="flush", simple_path=True, layer=20, datatype=0))  # L20_0
trafo_chk_ei30_2va_2xsec.add(gdstk.FlexPath([(-1998.98,-8001),(-5001.26,-8001)], 149.998, ends="flush", simple_path=True, layer=20, datatype=0))  # L20_0
trafo_chk_ei30_2va_2xsec.add(gdstk.FlexPath([(-5001.26,-8999.22),(-1998.98,-8999.22)], 149.998, ends="flush", simple_path=True, layer=20, datatype=0))  # L20_0
trafo_chk_ei30_2va_2xsec.add(gdstk.FlexPath([(5001.26,5001.26),(7000.24,5001.26)], 149.998, ends="flush", simple_path=True, layer=20, datatype=0))  # L20_0
trafo_chk_ei30_2va_2xsec.add(gdstk.FlexPath([(5001.26,9999.98),(5001.26,5001.26)], 149.998, ends="flush", simple_path=True, layer=20, datatype=0))  # L20_0
trafo_chk_ei30_2va_2xsec.add(gdstk.FlexPath([(7000.24,9999.98),(5001.26,9999.98)], 149.998, ends="flush", simple_path=True, layer=20, datatype=0))  # L20_0
trafo_chk_ei30_2va_2xsec.add(gdstk.FlexPath([(4000.5,5001.26),(5001.26,5001.26)], 149.998, ends="flush", simple_path=True, layer=20, datatype=0))  # L20_0
trafo_chk_ei30_2va_2xsec.add(gdstk.FlexPath([(4000.5,9999.98),(4000.5,5001.26)], 149.998, ends="flush", simple_path=True, layer=20, datatype=0))  # L20_0
trafo_chk_ei30_2va_2xsec.add(gdstk.FlexPath([(5001.26,9999.98),(4000.5,9999.98)], 149.998, ends="flush", simple_path=True, layer=20, datatype=0))  # L20_0
trafo_chk_ei30_2va_2xsec.add(gdstk.FlexPath([(2999.74,5001.26),(4000.5,5001.26)], 149.998, ends="flush", simple_path=True, layer=20, datatype=0))  # L20_0
trafo_chk_ei30_2va_2xsec.add(gdstk.FlexPath([(2999.74,9999.98),(2999.74,5001.26)], 149.998, ends="flush", simple_path=True, layer=20, datatype=0))  # L20_0
trafo_chk_ei30_2va_2xsec.add(gdstk.FlexPath([(4000.5,9999.98),(2999.74,9999.98)], 149.998, ends="flush", simple_path=True, layer=20, datatype=0))  # L20_0
trafo_chk_ei30_2va_2xsec.add(gdstk.FlexPath([(1998.98,5001.26),(2999.74,5001.26)], 149.998, ends="flush", simple_path=True, layer=20, datatype=0))  # L20_0
trafo_chk_ei30_2va_2xsec.add(gdstk.FlexPath([(1998.98,9999.98),(1998.98,5001.26)], 149.998, ends="flush", simple_path=True, layer=20, datatype=0))  # L20_0
trafo_chk_ei30_2va_2xsec.add(gdstk.FlexPath([(2999.74,9999.98),(1998.98,9999.98)], 149.998, ends="flush", simple_path=True, layer=20, datatype=0))  # L20_0
trafo_chk_ei30_2va_2xsec.add(gdstk.FlexPath([(1998.98,8999.22),(5001.26,8999.22)], 149.998, ends="flush", simple_path=True, layer=20, datatype=0))  # L20_0
trafo_chk_ei30_2va_2xsec.add(gdstk.FlexPath([(5001.26,8001),(1998.98,8001)], 149.998, ends="flush", simple_path=True, layer=20, datatype=0))  # L20_0
trafo_chk_ei30_2va_2xsec.add(gdstk.FlexPath([(1998.98,7000.24),(5001.26,7000.24)], 149.998, ends="flush", simple_path=True, layer=20, datatype=0))  # L20_0
trafo_chk_ei30_2va_2xsec.add(gdstk.FlexPath([(5001.26,5999.48),(1998.98,5999.48)], 149.998, ends="flush", simple_path=True, layer=20, datatype=0))  # L20_0
trafo_chk_ei30_2va_2xsec.add(gdstk.FlexPath([(1998.98,-9999.98),(7000.24,-9999.98)], 149.998, ends="flush", simple_path=True, layer=20, datatype=0))  # L20_0
trafo_chk_ei30_2va_2xsec.add(gdstk.FlexPath([(1998.98,-5001.26),(1998.98,-9999.98)], 149.998, ends="flush", simple_path=True, layer=20, datatype=0))  # L20_0
trafo_chk_ei30_2va_2xsec.add(gdstk.FlexPath([(7000.24,-5001.26),(1998.98,-5001.26)], 149.998, ends="flush", simple_path=True, layer=20, datatype=0))  # L20_0
trafo_chk_ei30_2va_2xsec.add(gdstk.FlexPath([(5001.26,-5001.26),(5001.26,-9999.98)], 149.998, ends="flush", simple_path=True, layer=20, datatype=0))  # L20_0
trafo_chk_ei30_2va_2xsec.add(gdstk.FlexPath([(4000.5,-9999.98),(4000.5,-5001.26)], 149.998, ends="flush", simple_path=True, layer=20, datatype=0))  # L20_0
trafo_chk_ei30_2va_2xsec.add(gdstk.FlexPath([(5001.26,-9999.98),(4000.5,-9999.98)], 149.998, ends="flush", simple_path=True, layer=20, datatype=0))  # L20_0
trafo_chk_ei30_2va_2xsec.add(gdstk.FlexPath([(2999.74,-5001.26),(2999.74,-9999.98)], 149.998, ends="flush", simple_path=True, layer=20, datatype=0))  # L20_0
trafo_chk_ei30_2va_2xsec.add(gdstk.FlexPath([(1998.98,-5999.48),(5001.26,-5999.48)], 149.998, ends="flush", simple_path=True, layer=20, datatype=0))  # L20_0
trafo_chk_ei30_2va_2xsec.add(gdstk.FlexPath([(5001.26,-7000.24),(1998.98,-7000.24)], 149.998, ends="flush", simple_path=True, layer=20, datatype=0))  # L20_0
trafo_chk_ei30_2va_2xsec.add(gdstk.FlexPath([(1998.98,-8001),(5001.26,-8001)], 149.998, ends="flush", simple_path=True, layer=20, datatype=0))  # L20_0
trafo_chk_ei30_2va_2xsec.add(gdstk.FlexPath([(5001.26,-8999.22),(1998.98,-8999.22)], 149.998, ends="flush", simple_path=True, layer=20, datatype=0))  # L20_0
trafo_chk_ei30_2va_2xsec.add(gdstk.Label('10', (9999.98,-9999.98), layer=28, texttype=0))
trafo_chk_ei30_2va_2xsec.add(gdstk.Label('9', (9999.98,-5001.26), layer=28, texttype=0))
trafo_chk_ei30_2va_2xsec.add(gdstk.Label('8', (9999.98,0), layer=28, texttype=0))
trafo_chk_ei30_2va_2xsec.add(gdstk.Label('7', (9999.98,5001.26), layer=28, texttype=0))
trafo_chk_ei30_2va_2xsec.add(gdstk.Label('6', (9999.98,9999.98), layer=28, texttype=0))
trafo_chk_ei30_2va_2xsec.add(gdstk.Label('5', (-9999.98,9999.98), layer=28, texttype=0))
trafo_chk_ei30_2va_2xsec.add(gdstk.Label('4', (-9999.98,5001.26), layer=28, texttype=0))
trafo_chk_ei30_2va_2xsec.add(gdstk.Label('3', (-9999.98,0), layer=28, texttype=0))
trafo_chk_ei30_2va_2xsec.add(gdstk.Label('2', (-9999.98,-5001.26), layer=28, texttype=0))
trafo_chk_ei30_2va_2xsec.add(gdstk.Label('1', (-9999.98,-9999.98), layer=28, texttype=0))
trafo_chk_ei30_2va_2xsec.add(gdstk.Label('1', (-7000.24,-11998.96), layer=9, texttype=0))
trafo_chk_ei30_2va_2xsec.add(gdstk.Label('5', (-7000.24,11998.96), layer=9, texttype=0))
trafo_chk_ei30_2va_2xsec.add(gdstk.Label('Pri', (-7000.24,0), layer=9, texttype=0))
trafo_chk_ei30_2va_2xsec.add(gdstk.Label('6', (6499.86,11998.96), layer=9, texttype=0))
trafo_chk_ei30_2va_2xsec.add(gdstk.Label('7', (6499.86,4000.5), layer=9, texttype=0))
trafo_chk_ei30_2va_2xsec.add(gdstk.Label('9', (6499.86,-4000.5), layer=9, texttype=0))
trafo_chk_ei30_2va_2xsec.add(gdstk.Label('10', (6499.86,-11000.74), layer=9, texttype=0))
trafo_chk_ei30_2va_2xsec.add(gdstk.Label('Sec-I', (6499.86,7500.62), layer=9, texttype=0))
trafo_chk_ei30_2va_2xsec.add(gdstk.Label('Sec-II', (6499.86,-7500.62), layer=9, texttype=0))
trafo_chk_ei30_2va_2xsec.add(gdstk.Label('type', (0,0), layer=9, texttype=0))
trafo_chk_ei30_2va_2xsec.add(gdstk.Label('devicename', (0,17780), layer=9, texttype=0))

lib.write_gds('Trafo_CHK-EI30-2VA_2xSec.gds')
